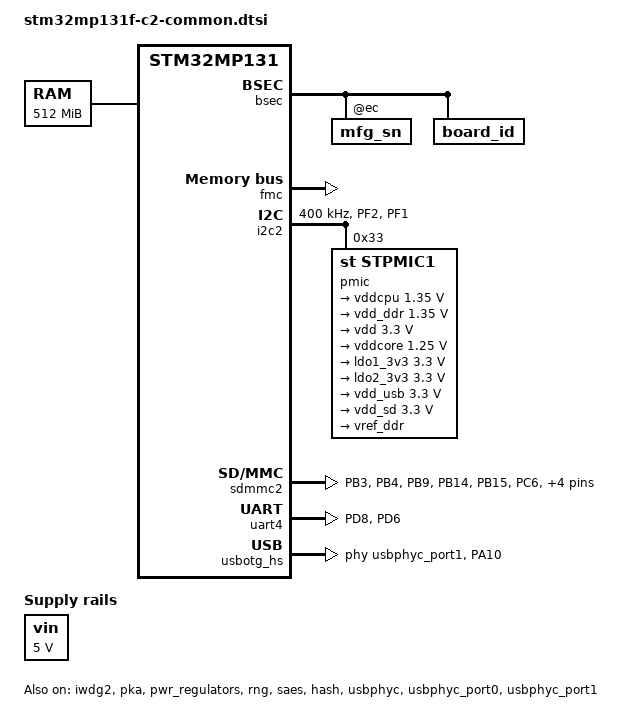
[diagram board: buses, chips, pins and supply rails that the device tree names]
/* SPDX-License-Identifier: (GPL-2.0+ OR BSD-3-Clause) */
/*
* Copyright (C) Block Inc.
* Author: btcm-sw-team@block.xyz
*/

/dts-v1/;
#include <dt-bindings/pinctrl/stm32-pinfunc.h>
#include <dt-bindings/clock/stm32mp13-clksrc.h>
#include "stm32mp131.dtsi"
#include "stm32mp13xf.dtsi"
#include "stm32mp13-ddr3-1x4Gb-1066-binF.dtsi"
#include "stm32mp13-pinctrl.dtsi"

/ {
    aliases {
        serial0 = &uart4;
        serial1 = &uart5;
    };

    chosen {
        stdout-path = "serial0:115200n8";
    };

    memory@c0000000 {
        device_type = "memory";
        reg = <0xc0000000 0x20000000>;
    };

    vin: vin {
        compatible = "regulator-fixed";
        regulator-name = "vin";
        regulator-min-microvolt = <5000000>;
        regulator-max-microvolt = <5000000>;
        regulator-always-on;
    };

}; /*root*/

&pinctrl {
    i2c2_pins_a: i2c2-0 {
        pins {
            pinmux = <STM32_PINMUX('F', 2, AF4)>, /* I2C2_SCL */
            <STM32_PINMUX('F', 1, AF4)>; /* I2C2_SDA */
            bias-disable;
            drive-open-drain;
            slew-rate = <0>;
        };
    };

    i2c4_pins_mx: i2c4_mx-0 {
        pins {
            pinmux = <STM32_PINMUX('B', 7, AF6)>, /* I2C4_SDA */
            <STM32_PINMUX('E', 15, AF6)>; /* I2C4_SCL */
            bias-disable;
            drive-open-drain;
            slew-rate = <0>;
        };
    };

    sdmmc2_pins_mx: sdmmc2_mx-0 {
        pins1 {
            pinmux = <STM32_PINMUX('B', 3, AF10)>, /* SDMMC2_D2 */
            <STM32_PINMUX('B', 4, AF10)>, /* SDMMC2_D3 */
            <STM32_PINMUX('B', 9, AF10)>, /* SDMMC2_D5 */
            <STM32_PINMUX('B', 14, AF10)>, /* SDMMC2_D0 */
            <STM32_PINMUX('B', 15, AF10)>, /* SDMMC2_D1 */
            <STM32_PINMUX('C', 6, AF10)>, /* SDMMC2_D6 */
            <STM32_PINMUX('C', 7, AF10)>, /* SDMMC2_D7 */
            <STM32_PINMUX('F', 0, AF10)>, /* SDMMC2_D4 */
            <STM32_PINMUX('G', 6, AF10)>; /* SDMMC2_CMD */
            bias-disable;
            drive-push-pull;
            slew-rate = <1>;
        };
        pins2 {
            pinmux = <STM32_PINMUX('E', 3, AF10)>; /* SDMMC2_CK */
            bias-disable;
            drive-push-pull;
            slew-rate = <3>;
        };
    };

    uart4_pins_a: uart4-0 {
        pins1 {
            pinmux = <STM32_PINMUX('D', 8, AF8)>; /* UART4_RX */
            bias-disable;
        };
        pins2 {
            pinmux = <STM32_PINMUX('D', 6, AF8)>; /* UART4_TX */
            bias-disable;
            drive-push-pull;
            slew-rate = <0>;
        };
    };

    usb_otg_hs_pins_mx: usb_otg_hs_mx-0 {
        pins {
            pinmux = <STM32_PINMUX('A', 10, ANALOG)>; /* USB_OTG_HS_ID */
        };
    };
};

&clk_hse {
    st,digbypass;
};

&bsec {
    status = "okay";

    mac_addr: mac_addr@e4 {
        reg = <0xe4 0x8>;
        st,non-secure-otp;
    };

    mfg_sn: mfg_sn@ec {
        reg = <0xec 0x10>;
        st,non-secure-otp;
    };

    board_id: board_id@100 {
        reg = <0x100 0x4>;
        st,non-secure-otp;
    };
};

&fmc {
    pinctrl-names = "default";
    pinctrl-0 = <&fmc_pins_mx>;
    status = "okay";
};

&i2c2 {
    pinctrl-names = "default";
    pinctrl-0 = <&i2c2_pins_a>;
    status = "okay";
    i2c-scl-rising-time-ns = <185>;
    i2c-scl-falling-time-ns = <20>;
    clock-frequency = <400000>;
    status = "okay";

    pmic: stpmic@33 {
        compatible = "st,stpmic1";
        reg = <0x33>;

        status = "okay";

        regulators {
            compatible = "st,stpmic1-regulators";
            buck1-supply = <&vin>;
            buck2-supply = <&vin>;
            buck3-supply = <&vin>;
            buck4-supply = <&vin>;
            ldo1-supply = <&vin>;
            ldo2-supply = <&vin>;
            /* ldo3-supply = <NC>; */
            ldo4-supply = <&vin>;
            ldo5-supply = <&vin>;
            ldo6-supply = <&vin>;
            vref_ddr-supply = <&vin>;
            /* pwr_sw1-supply = <&>; */
            /* pwr_sw2-supply = <&>; */

            /* BUCK1: VDD_CPU */
            vddcpu: buck1 {
                regulator-name = "vddcpu";
                regulator-min-microvolt = <1350000>;
                regulator-max-microvolt = <1350000>;
                regulator-always-on;
                regulator-over-current-protection;
            };
            /* BUCK2: VDD_DDR */
            vdd_ddr: buck2 {
                regulator-name = "vdd_ddr";
                regulator-min-microvolt = <1350000>;
                regulator-max-microvolt = <1350000>;
                regulator-always-on;
                regulator-over-current-protection;
            };
            /* BUCK3: VDD */
            vdd: buck3 {
                regulator-name = "vdd";
                regulator-min-microvolt = <3300000>;
                regulator-max-microvolt = <3300000>;
                regulator-always-on;
                st,mask-reset;
                regulator-over-current-protection;
            };
            /* BUCK4: VDD_CORE */
            vddcore: buck4 {
                regulator-name = "vddcore";
                regulator-min-microvolt = <1250000>;
                regulator-max-microvolt = <1250000>;
                regulator-always-on;
                regulator-over-current-protection;
            };
            /* LDO1: USB 3.3V - USB VDDA33, LDO1_3V3 */
            ldo1_3v3: ldo1 {
                regulator-name = "ldo1_3v3";
                regulator-min-microvolt = <3300000>;
                regulator-max-microvolt = <3300000>;
                regulator-boot-on;
                regulator-always-on;
            };
            /* LDO2: ENET 3.3V, LDO2_3V3 */
            ldo2_3v3: ldo2 {
                regulator-name = "ldo2_3v3";
                regulator-min-microvolt = <3300000>;
                regulator-max-microvolt = <3300000>;
                regulator-boot-on;
                regulator-always-on;
            };
            /* LDO3: NC */
            /*
            *<>: ldo3 {
                regulator-name = "<>";
                regulator-min-microvolt = <>;
                regulator-max-microvolt = <>;
            *};
            */
            /* LDO4: VDD_USB USB HS*/
            vdd_usb: ldo4 {
                regulator-name = "vdd_usb";
                regulator-min-microvolt = <3300000>;
                regulator-max-microvolt = <3300000>;
                regulator-boot-on;
                regulator-always-on;
            };
            /* LDO5: VDD_SD */
            vdd_sd: ldo5 {
                regulator-name = "vdd_sd";
                regulator-min-microvolt = <3300000>;
                regulator-max-microvolt = <3300000>;
                regulator-boot-on;
                regulator-always-on;
            };
            /* LDO6: NC */
            /*
            *<>: ldo6 {
                regulator-name = "<>";
                regulator-min-microvolt = <>;
                regulator-max-microvolt = <>;
            *};
            */
            /* VREF_DDR: Standard configuration */
            vref_ddr: vref_ddr {
                regulator-name = "vref_ddr";
                regulator-always-on;
            };
            /* BSTOUT: NC */
            /*
            *bst_out: boost {
                *	regulator-name = "bst_out";
            *};
            */
            /* SW2: NC */
            /*
            *<>: pwr_sw2 {
                *	regulator-name = "<>";
                *	regulator-active-discharge = <1>;
                *	regulator-always-on;
            *};
            */
        };
    };
};

&iwdg2 {
    status = "okay";

    timeout-sec = <32>;
};

&pka {
    status = "okay";

};

&pwr_regulators {
    status = "okay";

    vdd-supply = <&vdd>;
    vdd_3v3_usbfs-supply = <&vdd_usb>;
};

&rcc {
    st,clksrc = <
    CLK_MPU_PLL1P
    CLK_AXI_PLL2P
    CLK_MLAHBS_PLL3
    CLK_CKPER_HSE
    CLK_RTC_LSE
    CLK_SDMMC1_PLL4P
    CLK_SDMMC2_PLL4P
    CLK_ADC2_PLL4R
    CLK_STGEN_HSE
    CLK_USBPHY_HSE
    CLK_I2C4_HSI
    CLK_USBO_USBPHY
    CLK_I2C12_HSI
    CLK_UART2_HSI
    CLK_UART4_HSI
    CLK_SAES_AXI
    >;

    st,clkdiv = <
    DIV(DIV_AXI, 0)
    DIV(DIV_MLAHB, 0)
    DIV(DIV_APB1, 1)
    DIV(DIV_APB2, 1)
    DIV(DIV_APB3, 1)
    DIV(DIV_APB4, 1)
    DIV(DIV_APB5, 2)
    DIV(DIV_APB6, 1)
    DIV(DIV_RTC, 0)
    >;

    st,pll_vco {
        pll1_vco_1300Mhz: pll1-vco-1300Mhz {
            src = < CLK_PLL12_HSE >;
            divmn = < 2 80 >;
            frac = < 0x800 >;
        };

        pll2_vco_1066Mhz: pll2-vco-1066Mhz {
            src = < CLK_PLL12_HSE >;
            divmn = < 2 65 >;
            frac = < 0x1400 >;
        };

        pll3_vco_417_8Mhz: pll3-vco-417_8Mhz {
            src = < CLK_PLL3_HSE >;
            divmn = < 1 33 >;
            frac = < 0x1a04 >;
        };

        pll4_vco_600Mhz: pll4-vco-600Mhz {
            src = < CLK_PLL4_HSE >;
            divmn = < 1 49 >;
        };
    };

    /* VCO = 1300.0 MHz => P = 650 (CPU) */
    pll1:st,pll@0 {
        compatible = "st,stm32mp1-pll";
        reg = <0>;

        st,pll = < &pll1_cfg1 >;

        pll1_cfg1: pll1_cfg1 {
            st,pll_vco = < &pll1_vco_1300Mhz >;
            st,pll_div_pqr = < 0 1 1 >;
        };
    };

    /* VCO = 1066.0 MHz => P = 266 (AXI), Q = 266, R = 533 (DDR) */
    pll2:st,pll@1 {
        compatible = "st,stm32mp1-pll";
        reg = <1>;

        st,pll = < &pll2_cfg1 >;

        pll2_cfg1: pll2_cfg1 {
            st,pll_vco = < &pll2_vco_1066Mhz >;
            st,pll_div_pqr = < 1 1 0 >;
        };
    };

    /* VCO = 417.8 MHz => P = 209, Q = 24, R = 209 */
    pll3:st,pll@2 {
        compatible = "st,stm32mp1-pll";
        reg = <2>;

        st,pll = < &pll3_cfg1 >;

        pll3_cfg1: pll3_cfg1 {
            st,pll_vco = < &pll3_vco_417_8Mhz >;
            st,pll_div_pqr = < 1 16 1 >;
        };
    };

    /* VCO = 600.0 MHz => P = 50, Q = 10, R = 100 */
    pll4:st,pll@3 {
        compatible = "st,stm32mp1-pll";
        reg = <3>;

        st,pll = < &pll4_cfg1 >;

        pll4_cfg1: pll4_cfg1 {
            st,pll_vco = < &pll4_vco_600Mhz >;
            st,pll_div_pqr = < 11 59 5 >;
        };
    };
};

&rng {
    status = "okay";
};

&saes {
    status = "okay";
};

&hash {
    status = "okay";
};

&sdmmc1 {
    // No SD card slot on C2-P1
    status = "disabled";
};

&sdmmc2 {
    pinctrl-names = "default";
    pinctrl-0 = <&sdmmc2_pins_mx>;
    status = "okay";
};

&uart4 {
    pinctrl-names = "default";
    pinctrl-0 = <&uart4_pins_a>;
    status = "okay";
};

&usbotg_hs {
    pinctrl-names = "default";
    pinctrl-0 = <&usb_otg_hs_pins_mx>;
    status = "okay";

    phys = <&usbphyc_port1 0>;
    phy-names = "usb2-phy";
    usb-role-switch;
};

&usbphyc {
    status = "okay";
};

&usbphyc_port0 {
    status = "okay";

    phy-supply = <&vdd_usb>;
};

&usbphyc_port1 {
    status = "okay";

    phy-supply = <&vdd_usb>;
};

&cpu0 {
    cpu-supply = <&vddcpu>;
};
